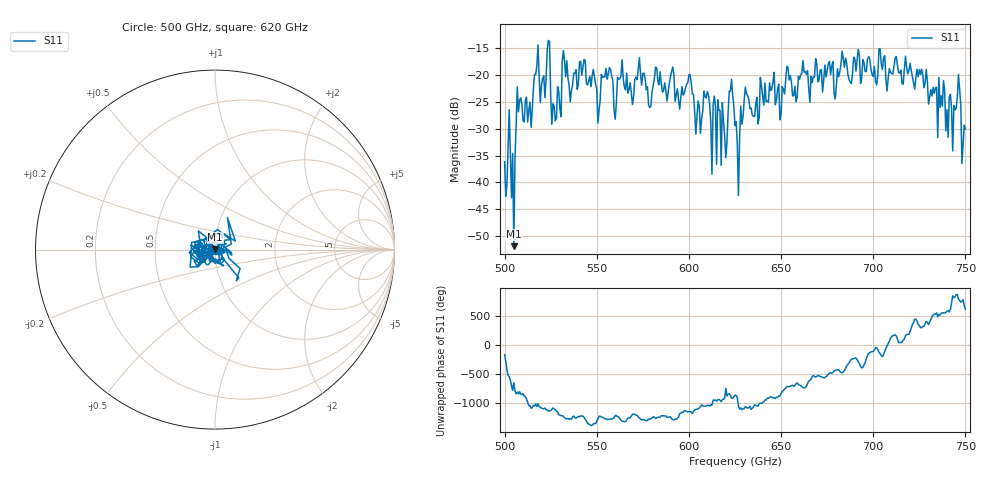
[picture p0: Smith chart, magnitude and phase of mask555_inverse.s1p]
!Created with skrf (http://scikit-rf.org).
# GHz S MA R 50.0
!freq magS11 angS11
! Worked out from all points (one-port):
!   401 points, 500 GHz to 750 GHz, reference 50 ohm
!   lowest |S11| = -51.9 dB at 505 GHz (marker M1), VSWR 1.01, Z = 50.1 + j0.243 ohm
!   |S11| at or under -10 dB: start of sweep to end of sweep
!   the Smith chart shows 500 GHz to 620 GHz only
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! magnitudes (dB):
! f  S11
! 500 GHz  -36.2
! 503.1 GHz  -34.5
! 505 GHz  -51.9
! 508.1 GHz  -24.7
! 513.8 GHz  -25.1
! 516.9 GHz  -19.8
! 520.6 GHz  -20.7
! 523.8 GHz  -13.5
! 526.9 GHz  -25.8
! 531.2 GHz  -17.5
! 542.5 GHz  -18.6
! 550.6 GHz  -28.9
! 562.5 GHz  -20.7
! 593.8 GHz  -22.5
! 600 GHz  -19.9
! 605 GHz  -24.8
! 609.4 GHz  -24.3
! 618.8 GHz  -28.6
! 623.1 GHz  -20.8
! 625 GHz  -29.4
! 626.2 GHz  -32.9
! 631.2 GHz  -23.5
! 656.2 GHz  -23.9
! 687.5 GHz  -21.3
! 718.8 GHz  -19.8
! 741.9 GHz  -23.6
! 746.2 GHz  -19.9
! 750 GHz  -30.0
